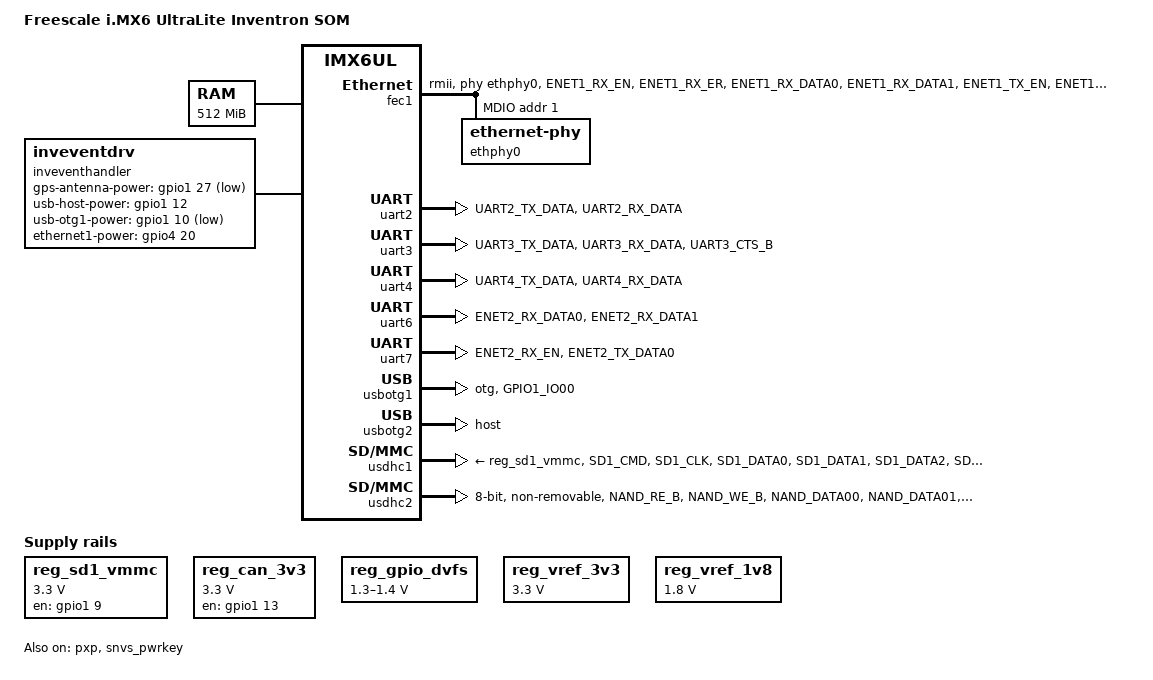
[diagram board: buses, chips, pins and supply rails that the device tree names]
/*
 * Copyright (C) 2015 Freescale Semiconductor, Inc.
 *
 * This program is free software; you can redistribute it and/or modify
 * it under the terms of the GNU General Public License version 2 as
 * published by the Free Software Foundation.
 */

/dts-v1/;

#include "imx6ul-invsom.dtsi"


/ {
	model = "Freescale i.MX6 UltraLite Inventron SOM";
	compatible = "fsl,imx6ul-invsom", "fsl,imx6ul";

	chosen {
		stdout-path = &uart6;
	};

	memory@80000000 {
		device_type = "memory";
		reg = <0x80000000 0x20000000>; /* 512 MB RAM*/
	};

	reserved-memory {
		#address-cells = <1>;
		#size-cells = <1>;
		ranges;

		linux,cma {
			compatible = "shared-dma-pool";
			reusable;
			size = <0x14000000>;
			linux,cma-default;
		};
	};

	backlight {
		compatible = "pwm-backlight";
		pwms = <&pwm7 0 5000000>;
		pwm-names = "lcdbacklight";
		brightness-levels = <0 4 8 16 32 64 128 250>;
		default-brightness-level = <6>;
		status = "disabled";
	};
	
	inveventhandler {
		compatible = "inveventdrv";
		status = "okay";
		
		gps-antenna-power-gpio = <&gpio1 27 GPIO_ACTIVE_LOW>;
		usb-host-power-gpio = <&gpio1 12 GPIO_ACTIVE_HIGH>;
		usb-otg1-power-gpio = <&gpio1 10 GPIO_ACTIVE_LOW>;
		ethernet1-power-gpio = <&gpio4 20 GPIO_ACTIVE_HIGH>;
	};
	
	pxp_v4l2 {
		compatible = "fsl,imx6ul-pxp-v4l2", "fsl,imx6sx-pxp-v4l2", "fsl,imx6sl-pxp-v4l2";
		status = "okay";
	};

	reg_sd1_vmmc: sd1_regulator {
		compatible = "regulator-fixed";
		regulator-name = "VSD_3V3";
		regulator-min-microvolt = <3300000>;
		regulator-max-microvolt = <3300000>;
		gpio = <&gpio1 9 GPIO_ACTIVE_HIGH>;
		off-on-delay = <20000>;
		enable-active-high;
	};
	
	reg_can_3v3: regulator@0 {
		compatible = "regulator-fixed";
		reg = <0>;
		regulator-name = "can-3v3";
		regulator-min-microvolt = <3300000>;
		regulator-max-microvolt = <3300000>;
		gpios = <&gpio1 13 GPIO_ACTIVE_HIGH>;
	  	regulator-always-on;
		off-on-delay = <20>;
		enable-active-high;
	};
	
	reg_gpio_dvfs: regulator-gpio {
		compatible = "regulator-gpio";
		pinctrl-names = "default";
		pinctrl-0 = <&pinctrl_dvfs>;
		regulator-min-microvolt = <1300000>;
		regulator-max-microvolt = <1400000>;
		regulator-name = "gpio_dvfs";
		regulator-type = "voltage";
		states = <1300000 0x1 1400000 0x0>;
	};
	
	reg_vref_3v3: regulator-vref {
	  compatible = "regulator-fixed";
	  regulator-name = "vref-3v3";
	  regulator-min-microvolt = <3300000>;
	  regulator-max-microvolt = <3300000>;
	  regulator-always-on;
	  regulator-boot-on;		  
	};
	
	reg_vref_1v8: regulator-vref-1v8 { /* V1.8 */
		compatible = "regulator-fixed";
		regulator-name = "vref-1v8";
		regulator-min-microvolt = <1800000>;
		regulator-max-microvolt = <1800000>;
		regulator-always-on;
	  	regulator-boot-on;		  
	};
};

&adc1 {
	pinctrl-names = "default";
	pinctrl-0 = <&pinctrl_adc1>;
	status = "disabled";
};

&can2 {
	pinctrl-names = "default";
	pinctrl-0 = <&pinctrl_flexcan2>;
	xceiver-supply = <&reg_can_3v3>;
	status = "disabled";
};

&clks {
	assigned-clocks = <&clks IMX6UL_CLK_PLL4_AUDIO_DIV>;
	assigned-clock-rates = <786432000>;
};

&fec1 {
	pinctrl-names = "default";
	pinctrl-0 = <&pinctrl_enet1>;
	phy-reset-gpios = <&gpio4 28 GPIO_ACTIVE_HIGH>; /* ENET1_nRST reset active high (pcf ile phy-rst pini arasindaki mosfetten dolayi) */
	phy-reset-duration = <1>;
	phy-reset-active-high;
	phy-mode = "rmii";
	phy-handle = <&ethphy0>;
	status = "okay";
	mdio {
		#address-cells = <1>;
		#size-cells = <0>;

		ethphy0: ethernet-phy@1 {
			/* compatible = "ethernet-phy-ieee802.3-c22"; */
			reg = <1>;
			clocks = <&clks IMX6UL_CLK_ENET_REF>;
			clock-names = "rmii-ref";
			status = "okay";			
		};

	};	
};

&i2c1 {
	clock-frequency = <100000>;
	pinctrl-names = "default";
	pinctrl-0 = <&pinctrl_i2c1>;
	status = "disabled";

};

&i2c2 {
	clock-frequency = <100000>;
	pinctrl-names = "default";
	pinctrl-0 = <&pinctrl_i2c2>;
	status = "disabled";
};

&pwm7 {
	pinctrl-names = "default";
	pinctrl-0 = <&pinctrl_pwm7>;
	status = "disabled";
};

&pxp {
	status = "okay";
};

&uart2 { /* gsm */
	pinctrl-names = "default";
	pinctrl-0 = <&pinctrl_uart2>;
	status = "okay";
};

&uart3 { /* rs232 - rs485 */
	pinctrl-names = "default";
	pinctrl-0 = <&pinctrl_uart3>;
	uart-has-rtscts;
	linux,rs485-enabled-at-boot-time;	
	status = "okay";
};

&uart4 {
	pinctrl-names = "default";
	pinctrl-0 = <&pinctrl_uart4>;
	status = "okay";
};

&uart6 {
	pinctrl-names = "default";
	pinctrl-0 = <&pinctrl_uart6>;
	status = "okay";
};

&uart7 {
	pinctrl-names = "default";
	pinctrl-0 = <&pinctrl_uart7>;
	status = "okay";
};

&usbotg1 {
	pinctrl-names = "default";
	pinctrl-0 = <&pinctrl_usb_otg1_id>;
	dr_mode = "otg";
	srp-disable;
	hnp-disable;
	adp-disable;
	disable-over-current;
	status = "okay";
};

&usbotg2 {
	dr_mode = "host";
	disable-over-current;
	status = "okay";
};

&usbphy1 {
	tx-d-cal = <0x5>;
};

&usbphy2 {
	tx-d-cal = <0x5>;
};

&usdhc1 {
	pinctrl-names = "default", "state_100mhz", "state_200mhz";
	pinctrl-0 = <&pinctrl_usdhc1>;
	pinctrl-1 = <&pinctrl_usdhc1_100mhz>;
	pinctrl-2 = <&pinctrl_usdhc1_200mhz>;
	keep-power-in-suspend;
	wakeup-source;
	vmmc-supply = <&reg_sd1_vmmc>;
	status = "okay";
};

&usdhc2 {
	pinctrl-names = "default";
	pinctrl-0 = <&pinctrl_usdhc2>;
	keep-power-in-suspend;
	non-removable;
	bus-width = <8>;
	status = "okay";
};

&wdog1 {
	pinctrl-names = "default";
	pinctrl-0 = <&pinctrl_wdog>;
	fsl,ext-reset-output;
	status = "disabled";
};

&snvs_poweroff {
	status = "okay";
};

&snvs_pwrkey {
	status = "okay";
};

&iomuxc {
	pinctrl-names = "default";
	pinctrl-0 = <&pinctrl_hog_1>;

	pinctrl_hog_1: hoggrp-1 {
		fsl,pins = <
            MX6UL_PAD_GPIO1_IO03__GPIO1_IO03            0x000010B0 // ENET1_nINT
			MX6UL_PAD_CSI_HSYNC__GPIO4_IO20				0x000010B0 // ETHERNET_POWER_EN
			            
			// MX6UL_PAD_GPIO1_IO04__GPIO1_IO04			0x000010B0 // output: wifi modul 1:acik
			MX6UL_PAD_GPIO1_IO08__GPIO1_IO08			0x000010B0 // gsm power 500ms 1 then 0: on 
			MX6UL_PAD_CSI_DATA06__GPIO4_IO27			0x000010B0 // RLY_CNTRL
			MX6UL_PAD_CSI_DATA05__GPIO4_IO26			0x000010B0 // DO2
			MX6UL_PAD_CSI_DATA04__GPIO4_IO25			0x000010B0 // DO1
			MX6UL_PAD_CSI_DATA03__GPIO4_IO24			0x000010B0 // DI4
			MX6UL_PAD_CSI_DATA02__GPIO4_IO23			0x000010B0 // DI3
			MX6UL_PAD_CSI_DATA01__GPIO4_IO22			0x000010B0 // DI2
			MX6UL_PAD_CSI_DATA00__GPIO4_IO21			0x000010B0 // DI1
			MX6UL_PAD_ENET2_TX_CLK__GPIO2_IO14			0x000010B0 // Leksan BTN
			MX6UL_PAD_ENET2_TX_EN__GPIO2_IO13			0x000010B0 // Leksan LED
			MX6UL_PAD_ENET2_TX_DATA1__GPIO2_IO12		0x000010B0 // Watchdog IC enable
			MX6UL_PAD_ENET2_RX_ER__GPIO2_IO15			0x000010B0 // CTP_INT
			MX6UL_PAD_JTAG_TCK__GPIO1_IO14				0x000010B0 // CTP_RESET
			MX6UL_PAD_UART3_RTS_B__GPIO1_IO27			0x000010B0 // GPS_ANT_SUPPLY_ONOFF
			MX6UL_PAD_JTAG_MOD__GPIO1_IO10				0x000010B0 // USB_OTG1_PWR
			MX6UL_PAD_JTAG_TDO__GPIO1_IO12				0x000010B0 // USB_HOST_PWR
			MX6UL_PAD_JTAG_TDI__GPIO1_IO13				0x000010B0 // CAN_STBY
			
			MX6UL_PAD_UART1_RTS_B__GPIO1_IO19 0x1b0b1 /* input */
			MX6UL_PAD_UART1_CTS_B__GPIO1_IO18 0x1b0b1 /* output */
		>;
	};
	
	pinctrl_adc1: adc1grp {
		fsl,pins = <
			MX6UL_PAD_GPIO1_IO01__GPIO1_IO01        0xb0
		>;
	};

	pinctrl_adc2: adc2grp {
		fsl,pins = <
			MX6UL_PAD_GPIO1_IO02__GPIO1_IO02        0xb0
		>;
	};

	pinctrl_flexcan2: flexcan2grp {
		fsl,pins = <
			MX6UL_PAD_UART2_RTS_B__FLEXCAN2_RX	0x1b020
			MX6UL_PAD_UART2_CTS_B__FLEXCAN2_TX	0x1b020
		>;
	};
	
	pinctrl_dvfs: dvfsgrp {
		fsl,pins = <
			MX6UL_PAD_SNVS_TAMPER3__GPIO5_IO03	0x79
		>;
	};

	pinctrl_enet1: enet1grp {
		fsl,pins = <
			MX6UL_PAD_ENET1_RX_EN__ENET1_RX_EN		0x1b0b0
			MX6UL_PAD_ENET1_RX_ER__ENET1_RX_ER		0x1b0b0
			MX6UL_PAD_ENET1_RX_DATA0__ENET1_RDATA00	0x1b0b0
			MX6UL_PAD_ENET1_RX_DATA1__ENET1_RDATA01	0x1b0b0
			MX6UL_PAD_ENET1_TX_EN__ENET1_TX_EN		0x1b0b0
			MX6UL_PAD_ENET1_TX_DATA0__ENET1_TDATA00	0x1b0b0
			MX6UL_PAD_ENET1_TX_DATA1__ENET1_TDATA01	0x1b0b0
			MX6UL_PAD_ENET1_TX_CLK__ENET1_REF_CLK1	0x4001b031
            MX6UL_PAD_GPIO1_IO06__ENET1_MDIO        0x000010B0
            MX6UL_PAD_GPIO1_IO07__ENET1_MDC         0x000010B0
            MX6UL_PAD_CSI_DATA07__GPIO4_IO28		0x000010B0 // ENET1_nRST
		>;
	};
		
	pinctrl_i2c1: i2c1grp {
		fsl,pins = <
			MX6UL_PAD_CSI_PIXCLK__I2C1_SCL 0x4001b8b0
			MX6UL_PAD_CSI_MCLK__I2C1_SDA 0x4001b8b0
		>;
	};
	
	pinctrl_i2c2: i2c2grp {
		fsl,pins = <
			MX6UL_PAD_UART5_TX_DATA__I2C2_SCL 0x4001F0B1
			MX6UL_PAD_UART5_RX_DATA__I2C2_SDA 0x4001F0B1
		>;
	};

	pinctrl_pwm7: pwm2grp {
		fsl,pins = <
            MX6UL_PAD_CSI_VSYNC__PWM7_OUT             0x110b0 
		>;
	};

	pinctrl_uart1: uart1grp {
		fsl,pins = <
		/*	MX6UL_PAD_UART1_TX_DATA__UART1_DTE_RX 0x1b0b1
			MX6UL_PAD_UART1_RX_DATA__UART1_DTE_TX 0x1b0b1
			MX6UL_PAD_UART1_RTS_B__UART1_DTE_CTS 0x1b0b1
			MX6UL_PAD_UART1_CTS_B__UART1_DTE_RTS 0x1b0b1
		*/		
		
			MX6UL_PAD_UART1_TX_DATA__UART1_DCE_TX 0x1b0b1
			MX6UL_PAD_UART1_RX_DATA__UART1_DCE_RX 0x1b0b1
			/*MX6UL_PAD_UART1_RTS_B__UART1_DCE_RTS 0x1b0b1
			MX6UL_PAD_UART1_CTS_B__UART1_DCE_CTS 0x1b0b1*/
			
		>;
	};

	pinctrl_uart2: uart2grp {
		fsl,pins = <
			MX6UL_PAD_UART2_TX_DATA__UART2_DCE_TX	0x1b0b1
			MX6UL_PAD_UART2_RX_DATA__UART2_DCE_RX	0x1b0b1
		>;
	};

	pinctrl_uart3: uart3grp {
		fsl,pins = <
			MX6UL_PAD_UART3_TX_DATA__UART3_DCE_TX	0x1b0b1
			MX6UL_PAD_UART3_RX_DATA__UART3_DCE_RX	0x1b0b1
			MX6UL_PAD_UART3_CTS_B__UART3_DCE_CTS	0x1b0b1
		>;
	};
		
	pinctrl_uart4: uart4grp {
		fsl,pins = <
			MX6UL_PAD_UART4_TX_DATA__UART4_DCE_TX 0x1b0b1
			MX6UL_PAD_UART4_RX_DATA__UART4_DCE_RX 0x1b0b1
		>;
	};

	pinctrl_uart6: uart6grp {
		fsl,pins = <
			MX6UL_PAD_ENET2_RX_DATA0__UART6_DCE_TX 0x1b0b1
			MX6UL_PAD_ENET2_RX_DATA1__UART6_DCE_RX 0x1b0b1
		>;
	};

	pinctrl_uart7: uart6grp {
		fsl,pins = <
			MX6UL_PAD_ENET2_RX_EN__UART7_DCE_TX 0x1b0b1
			MX6UL_PAD_ENET2_TX_DATA0__UART7_DCE_RX 0x1b0b1
		>;
	};	
	
	pinctrl_usb_otg1_id: usbotg1idgrp {
		fsl,pins = <
			MX6UL_PAD_GPIO1_IO00__ANATOP_OTG1_ID	0x17059
		>;
	};

	pinctrl_usdhc1: usdhc1grp {
		fsl,pins = <
			MX6UL_PAD_SD1_CMD__USDHC1_CMD     	0x17059
			MX6UL_PAD_SD1_CLK__USDHC1_CLK     	0x10071
			MX6UL_PAD_SD1_DATA0__USDHC1_DATA0 	0x17059
			MX6UL_PAD_SD1_DATA1__USDHC1_DATA1 	0x17059
			MX6UL_PAD_SD1_DATA2__USDHC1_DATA2 	0x17059
			MX6UL_PAD_SD1_DATA3__USDHC1_DATA3 	0x17059
		>;
	};

	pinctrl_usdhc1_100mhz: usdhc1grp100mhz {
		fsl,pins = <
			MX6UL_PAD_SD1_CMD__USDHC1_CMD     	0x170b9
			MX6UL_PAD_SD1_CLK__USDHC1_CLK     	0x100b9
			MX6UL_PAD_SD1_DATA0__USDHC1_DATA0 	0x170b9
			MX6UL_PAD_SD1_DATA1__USDHC1_DATA1 	0x170b9
			MX6UL_PAD_SD1_DATA2__USDHC1_DATA2 	0x170b9
			MX6UL_PAD_SD1_DATA3__USDHC1_DATA3 	0x170b9
			/* MX6UL_PAD_UART1_RTS_B__USDHC1_CD_B       0x17059 SD1 CD */		
		>;
	};

	pinctrl_usdhc1_200mhz: usdhc1grp200mhz {
		fsl,pins = <
			MX6UL_PAD_SD1_CMD__USDHC1_CMD     	0x170f9
			MX6UL_PAD_SD1_CLK__USDHC1_CLK     	0x100f9
			MX6UL_PAD_SD1_DATA0__USDHC1_DATA0 	0x170f9
			MX6UL_PAD_SD1_DATA1__USDHC1_DATA1 	0x170f9
			MX6UL_PAD_SD1_DATA2__USDHC1_DATA2 	0x170f9
			MX6UL_PAD_SD1_DATA3__USDHC1_DATA3 	0x170f9
			/* MX6UL_PAD_UART1_RTS_B__USDHC1_CD_B       0x17059 SD1 CD */	
		>;
	};

	pinctrl_usdhc2: usdhc2grp {
		fsl,pins = <
            MX6UL_PAD_NAND_RE_B__USDHC2_CLK     0x17059
            MX6UL_PAD_NAND_WE_B__USDHC2_CMD     0x17059
            MX6UL_PAD_NAND_DATA00__USDHC2_DATA0 0x170b9
			MX6UL_PAD_NAND_DATA01__USDHC2_DATA1 0x170b9
			MX6UL_PAD_NAND_DATA02__USDHC2_DATA2 0x170b9
			MX6UL_PAD_NAND_DATA03__USDHC2_DATA3 0x170b9
			MX6UL_PAD_NAND_DATA04__USDHC2_DATA4 0x170b9
			MX6UL_PAD_NAND_DATA05__USDHC2_DATA5 0x170b9
			MX6UL_PAD_NAND_DATA06__USDHC2_DATA6 0x170b9
			MX6UL_PAD_NAND_DATA07__USDHC2_DATA7 0x170b9
			MX6UL_PAD_NAND_ALE__USDHC2_RESET_B  0xb0b1
		>;
	};
			
	pinctrl_wdog: wdoggrp {
		fsl,pins = <
			MX6UL_PAD_GPIO1_IO09__WDOG1_WDOG_ANY    0x30b0
		>;
	};
};

#include "imx6ul-invsom-btwifi.dtsi"
